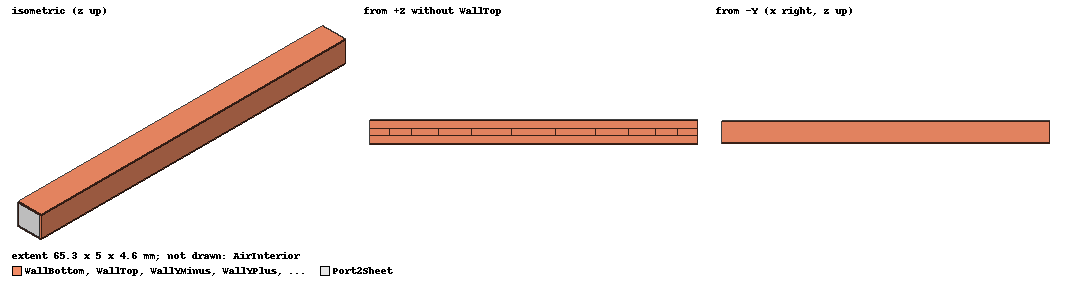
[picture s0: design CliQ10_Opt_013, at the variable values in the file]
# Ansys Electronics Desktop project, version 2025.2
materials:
  vacuum: permittivity=1
  copper: permeability=0.999991 conductivity=58000000
  air: permittivity=1.0006 permeability=1.0000004
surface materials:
  Steel-oxidised-surface

design CliQ10_Opt_013 (HFSS, HFSS Modal Network, model units mm)
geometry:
  WallBottom [copper] = box(corner=(0mm, -2.5mm, -2.3mm), size=(65.3mm, 5mm, 0.2mm))
  WallTop [copper] = box(corner=(0mm, -2.5mm, 2.1mm), size=(65.3mm, 5mm, 0.2mm))
  WallYMinus [copper] = box(corner=(0mm, -2.5mm, -2.1mm), size=(65.3mm, 0.2mm, 4.2mm))
  WallYPlus [copper] = box(corner=(0mm, 2.3mm, -2.1mm), size=(65.3mm, 0.2mm, 4.2mm))
  InputFeed [copper] = box(corner=(0mm, -0.6mm, -0.1mm), size=(4mm, 1.2mm, 0.2mm))
  CoreSection01 [copper] = box(corner=(4mm, -0.6mm, -0.042mm), size=(4.4076923mm, 1.2mm, 0.084mm))
  CoreSection02 [copper] = box(corner=(8.4076923mm, -0.6mm, -0.1225mm), size=(5.2892308mm, 1.2mm, 0.245mm))
  CoreSection03 [copper] = box(corner=(13.696923mm, -0.6mm, -0.042mm), size=(6.6115385mm, 1.2mm, 0.084mm))
  CoreSection04 [copper] = box(corner=(20.308462mm, -0.6mm, -0.1225mm), size=(7.9338462mm, 1.2mm, 0.245mm))
  CoreSection05 [copper] = box(corner=(28.242308mm, -0.6mm, -0.042mm), size=(8.8153846mm, 1.2mm, 0.084mm))
  CoreSection06 [copper] = box(corner=(37.057692mm, -0.6mm, -0.1225mm), size=(7.9338462mm, 1.2mm, 0.245mm))
  CoreSection07 [copper] = box(corner=(44.991538mm, -0.6mm, -0.042mm), size=(6.6115385mm, 1.2mm, 0.084mm))
  CoreSection08 [copper] = box(corner=(51.603077mm, -0.6mm, -0.1225mm), size=(5.2892308mm, 1.2mm, 0.245mm))
  CoreSection09 [copper] = box(corner=(56.892308mm, -0.6mm, -0.042mm), size=(4.4076923mm, 1.2mm, 0.084mm))
  OutputFeed [copper] = box(corner=(61.3mm, -0.6mm, -0.1mm), size=(4mm, 1.2mm, 0.2mm))
  AirInterior [air] = box(corner=(0mm, -2.3mm, -2.1mm), size=(65.3mm, 4.6mm, 4.2mm))
  InputFeed_1 = InputFeed.copy()
  CoreSection01_1 = CoreSection01.copy()
  CoreSection02_1 = CoreSection02.copy()
  CoreSection03_1 = CoreSection03.copy()
  CoreSection04_1 = CoreSection04.copy()
  CoreSection05_1 = CoreSection05.copy()
  CoreSection06_1 = CoreSection06.copy()
  CoreSection07_1 = CoreSection07.copy()
  CoreSection08_1 = CoreSection08.copy()
  CoreSection09_1 = CoreSection09.copy()
  OutputFeed_1 = OutputFeed.copy()
  AirInterior.subtract(InputFeed_1, CoreSection01_1, CoreSection02_1, CoreSection03_1, CoreSection04_1, CoreSection05_1, CoreSection06_1, CoreSection07_1, CoreSection08_1, CoreSection09_1, OutputFeed_1)
  Port1Sheet = rectangle(corner=(0mm, -2.3mm, -2.1mm), y_size=4.6mm, z_size=4.2mm)
  Port2Sheet = rectangle(corner=(65.3mm, -2.3mm, -2.1mm), y_size=4.6mm, z_size=4.2mm)
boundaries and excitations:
  Port1: Wave Port Objects=Port1Sheet WavePortType=Modal NumModes=2 Modes{Mode1{CharImp=Zpi RenormImp=50ohm} Mode2{CharImp=Zpi RenormImp=50ohm}}
  Port2: Wave Port Objects=Port2Sheet WavePortType=Modal NumModes=2 Modes{Mode1{CharImp=Zpi RenormImp=50ohm} Mode2{CharImp=Zpi RenormImp=50ohm}}
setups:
  Setup1: HfssDriven Frequency=40GHz MaxDeltaS=0.02 MaximumPasses=10 MinimumPasses=2 MinimumConvergedPasses=1 PercentRefinement=30 BasisOrder=1 PortAccuracy=2 DrivenSolverType="Direct Solver"
    sweep Sweep1: 0.01GHz to 40GHz, 401 points; Type=Interpolating InterpTolerance=0.5 InterpMaxSolns=250 InterpUsePortImped=false PassivityErrorTolerance=0.0001
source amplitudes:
  Port1:1: 1W 0deg
  Port1:2, Port2:1, Port2:2: 0W 0deg
